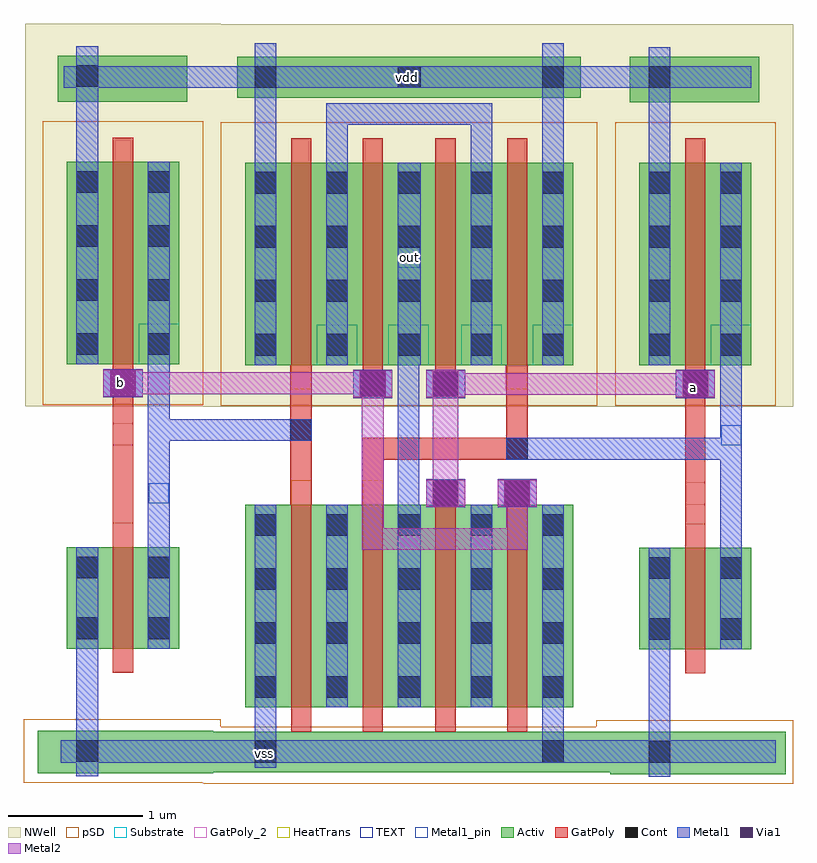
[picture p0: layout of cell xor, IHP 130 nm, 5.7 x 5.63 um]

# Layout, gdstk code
import gdstk
lib = gdstk.Library(unit=1e-6, precision=5e-09)
def R(c, l, rs):  # rectangles x0, y0, x1, y1
    for r in rs: c.add(gdstk.rectangle(r[:2], r[2:], *l))
def A(c, l, x, y, w, h, nx, ny, dx, dy):  # array of equal rectangles
    R(c, l, [(x+i*dx, y+j*dy, x+i*dx+w, y+j*dy+h) for i in range(nx) for j in range(ny)])
Activ = (1, 0)
GatPoly = (5, 0)
GatPoly_2 = (5, 2)
Cont = (6, 0)
Metal1 = (8, 0)
Metal1_pin = (8, 2)
Metal2 = (10, 0)
pSD = (14, 0)
Via1 = (19, 0)
NWell = (31, 0)
Substrate = (40, 0)
HeatTrans = (51, 0)
TEXT = (63, 0)

nmos = lib.new_cell('nmos')
R(nmos, Activ, [(0,0,0.3,0.3), (0,0,0.83,1.5), (0.53,0,0.83,0.3)])
R(nmos, GatPoly, [(0.34,-0.18,0.49,1.68)])
R(nmos, GatPoly_2, [(0.34,-0.18,0.49,1.68)])
A(nmos, Cont, 0.07, 0.07, 0.16, 0.16, 1, 4, 0, 0.4)
A(nmos, Cont, 0.6, 0.07, 0.16, 0.16, 1, 4, 0, 0.4)
R(nmos, Metal1, [(0.07,0,0.23,1.5), (0.6,0,0.76,1.5)])
R(nmos, Metal1_pin, [(0.07,0,0.23,1.5), (0.6,0,0.76,1.5)])
R(nmos, HeatTrans, [(0.34,-0.18,0.49,1.68)])
nmos.add(gdstk.Label('nmos', (0.415,0.75), layer=63, texttype=0))
nmos.add(gdstk.Label('nmos', (0.415,0.75), layer=51, texttype=0))

pmos = lib.new_cell('pmos')
R(pmos, Activ, [(0,0,0.3,0.3), (0,0,0.83,1.5), (0.53,0,0.83,0.3)])
R(pmos, GatPoly, [(0.34,-0.18,0.49,1.68), (0.34,-0.18,0.49,1.68)])
A(pmos, Cont, 0.07, 0.07, 0.16, 0.16, 1, 4, 0, 0.4)
A(pmos, Cont, 0.6, 0.07, 0.16, 0.16, 1, 4, 0, 0.4)
R(pmos, Metal1, [(0.07,0,0.23,1.5), (0.07,0,0.23,1.5), (0.6,0,0.76,1.5), (0.6,0,0.76,1.5)])
R(pmos, pSD, [(-0.18,-0.3,1.01,1.8)])
R(pmos, NWell, [(-0.31,-0.31,1.14,1.81)])
R(pmos, Substrate, [(0.53,0,0.83,0.3)])
R(pmos, HeatTrans, [(0.34,-0.18,0.49,1.68)])
pmos.add(gdstk.Label('pmos', (0.415,0.75), layer=63, texttype=0))
pmos.add(gdstk.Label('pmos', (0.415,0.75), layer=51, texttype=0))

nmos_1 = lib.new_cell('nmos$1')
R(nmos_1, Activ, [(0,0,0.3,0.3), (0,0,0.83,0.75), (0.53,0,0.83,0.3)])
R(nmos_1, GatPoly, [(0.34,-0.18,0.49,0.93)])
R(nmos_1, GatPoly_2, [(0.34,-0.18,0.49,0.93)])
R(nmos_1, Cont, [(0.07,0.07,0.23,0.23), (0.6,0.07,0.76,0.23), (0.07,0.52,0.23,0.68), (0.6,0.52,0.76,0.68)])
R(nmos_1, Metal1, [(0.07,0,0.23,0.75), (0.6,0,0.76,0.75)])
R(nmos_1, Metal1_pin, [(0.07,0,0.23,0.75), (0.6,0,0.76,0.75)])
R(nmos_1, HeatTrans, [(0.34,-0.18,0.49,0.93)])
nmos_1.add(gdstk.Label('nmos', (0.415,0.375), layer=63, texttype=0))
nmos_1.add(gdstk.Label('nmos', (0.415,0.375), layer=51, texttype=0))

pmos_1 = lib.new_cell('pmos$1')
R(pmos_1, Activ, [(0,0,0.3,0.3), (0,0,0.83,1.5), (0.53,0,0.83,0.3)])
R(pmos_1, GatPoly, [(0.34,-0.18,0.49,1.68), (0.34,-0.18,0.49,1.68)])
A(pmos_1, Cont, 0.07, 0.07, 0.16, 0.16, 1, 4, 0, 0.4)
A(pmos_1, Cont, 0.6, 0.07, 0.16, 0.16, 1, 4, 0, 0.4)
R(pmos_1, Metal1, [(0.07,0,0.23,1.5), (0.07,0,0.23,1.5), (0.6,0,0.76,1.5), (0.6,0,0.76,1.5)])
R(pmos_1, pSD, [(-0.18,-0.3,1.01,1.8)])
R(pmos_1, NWell, [(-0.31,-0.31,1.14,1.81)])
R(pmos_1, Substrate, [(0.53,0,0.83,0.3)])
R(pmos_1, HeatTrans, [(0.34,-0.18,0.49,1.68)])
pmos_1.add(gdstk.Label('pmos', (0.415,0.75), layer=63, texttype=0))
pmos_1.add(gdstk.Label('pmos', (0.415,0.75), layer=51, texttype=0))

inverter = lib.new_cell('inverter')
R(inverter, Activ, [(1.335,-1.99,2.635,-1.675), (1.48,2.985,2.44,3.325)])
R(inverter, GatPoly, [(1.89,-0.135,2.04,1.34)])
R(inverter, GatPoly_2, [(1.89,0.005,2.04,0.17)])
R(inverter, Cont, [(1.62,-1.905,1.78,-1.745), (1.62,2.31,1.78,2.47), (1.62,3.095,1.78,3.255)])
R(inverter, Metal1, [(1.62,-2.01,1.78,-1.065), (2.15,-0.315,2.31,1.27), (1.62,2.15,1.78,3.395)])
R(inverter, Metal1_pin, [(1.62,-1.905,1.78,-1.745), (2.155,0.445,2.305,0.595), (1.62,3.095,1.78,3.255)])
R(inverter, pSD, [(1.23,-2.06,2.69,-1.59)])
R(inverter, NWell, [(1.24,2.85,2.69,3.565)])
inverter.add(gdstk.Reference(nmos_1, (1.55,-1.065)))
inverter.add(gdstk.Reference(pmos_1, (1.55,1.04)))
inverter.add(gdstk.Label('out', (2.23,0.52), layer=8, texttype=2))
inverter.add(gdstk.Label('vdd', (1.685,3.17), layer=8, texttype=2))
inverter.add(gdstk.Label('vss', (1.69,-1.84), layer=8, texttype=2))
inverter.add(gdstk.Label('in', (1.94,0.09), layer=5, texttype=2))

nmos_2 = lib.new_cell('nmos$2')
R(nmos_2, Activ, [(0,0,0.3,0.3), (0,0,0.83,0.75), (0.53,0,0.83,0.3)])
R(nmos_2, GatPoly, [(0.34,-0.18,0.49,0.93)])
R(nmos_2, GatPoly_2, [(0.34,-0.18,0.49,0.93)])
R(nmos_2, Cont, [(0.07,0.07,0.23,0.23), (0.6,0.07,0.76,0.23), (0.07,0.52,0.23,0.68), (0.6,0.52,0.76,0.68)])
R(nmos_2, Metal1, [(0.07,0,0.23,0.75), (0.6,0,0.76,0.75)])
R(nmos_2, Metal1_pin, [(0.07,0,0.23,0.75), (0.6,0,0.76,0.75)])
R(nmos_2, HeatTrans, [(0.34,-0.18,0.49,0.93)])
nmos_2.add(gdstk.Label('nmos', (0.415,0.375), layer=63, texttype=0))
nmos_2.add(gdstk.Label('nmos', (0.415,0.375), layer=51, texttype=0))

pmos_1_1 = lib.new_cell('pmos$1$1')
R(pmos_1_1, Activ, [(0,0,0.3,0.3), (0,0,0.83,1.5), (0.53,0,0.83,0.3)])
R(pmos_1_1, GatPoly, [(0.34,-0.18,0.49,1.68), (0.34,-0.18,0.49,1.68)])
A(pmos_1_1, Cont, 0.07, 0.07, 0.16, 0.16, 1, 4, 0, 0.4)
A(pmos_1_1, Cont, 0.6, 0.07, 0.16, 0.16, 1, 4, 0, 0.4)
R(pmos_1_1, Metal1, [(0.07,0,0.23,1.5), (0.07,0,0.23,1.5), (0.6,0,0.76,1.5), (0.6,0,0.76,1.5)])
R(pmos_1_1, pSD, [(-0.18,-0.3,1.01,1.8)])
R(pmos_1_1, NWell, [(-0.31,-0.31,1.14,1.81)])
R(pmos_1_1, Substrate, [(0.53,0,0.83,0.3)])
R(pmos_1_1, HeatTrans, [(0.34,-0.18,0.49,1.68)])
pmos_1_1.add(gdstk.Label('pmos', (0.415,0.75), layer=63, texttype=0))
pmos_1_1.add(gdstk.Label('pmos', (0.415,0.75), layer=51, texttype=0))

inverter_1 = lib.new_cell('inverter$1')
R(inverter_1, Activ, [(1.335,-1.99,2.635,-1.675), (1.48,2.985,2.44,3.325)])
R(inverter_1, GatPoly, [(1.89,-0.135,2.04,1.34)])
R(inverter_1, GatPoly_2, [(1.89,0.44,2.04,0.605)])
R(inverter_1, Cont, [(1.62,-1.905,1.78,-1.745), (1.62,2.31,1.78,2.47), (1.62,3.095,1.78,3.255)])
R(inverter_1, Metal1, [(1.62,-2.01,1.78,-1.065), (2.15,-0.315,2.31,1.27), (1.62,2.15,1.78,3.395)])
R(inverter_1, Metal1_pin, [(1.62,-1.905,1.78,-1.745), (2.155,0.01,2.305,0.16), (1.62,3.095,1.78,3.255)])
R(inverter_1, pSD, [(1.23,-2.06,2.69,-1.59)])
R(inverter_1, NWell, [(1.24,2.85,2.69,3.565)])
inverter_1.add(gdstk.Reference(nmos_2, (1.55,-1.065)))
inverter_1.add(gdstk.Reference(pmos_1_1, (1.55,1.04)))
inverter_1.add(gdstk.Label('vdd', (1.685,3.17), layer=8, texttype=2))
inverter_1.add(gdstk.Label('out', (2.23,0.085), layer=8, texttype=2))
inverter_1.add(gdstk.Label('vss', (1.69,-1.84), layer=8, texttype=2))
inverter_1.add(gdstk.Label('in', (1.94,0.525), layer=5, texttype=2))

via_stack_1 = lib.new_cell('via_stack$1')
R(via_stack_1, Metal1, [(-0.145,-0.105,0.145,0.105)])
R(via_stack_1, Metal2, [(-0.145,-0.1,0.145,0.1)])
R(via_stack_1, Via1, [(-0.095,-0.095,0.095,0.095)])

xor = lib.new_cell('xor')
R(xor, Activ, [(-2.935,-1.82,0.08,-1.52), (-2.685,3.175,-1.21,3.48), (-1.615,3.175,-0.14,3.48)])
R(xor, GatPoly, [(-1.235,0.15,-1.045,0.34), (-1.235,0.15,-1.045,0.34), (-0.705,0.15,-0.515,0.34), (-1.775,0.96,-1.585,1.15), (-1.235,0.96,-1.045,1.15), (0.615,0.96,0.805,1.15), (-3.625,0.965,-3.435,1.155), (-3.625,0.965,-3.435,1.155)])
R(xor, GatPoly_2, [(0.615,0.96,0.805,1.15), (-3.625,0.965,-3.435,1.155), (-0.7,1.015,-0.535,1.19)])
R(xor, Cont, [(-2.555,-1.75,-2.395,-1.585), (-2.555,-1.75,-2.395,-1.585), (-0.425,-1.75,-0.265,-1.585), (-1.235,0.14,-1.045,0.34), (-0.705,0.15,-0.515,0.34), (-0.69,0.495,-0.53,0.655), (-2.29,0.635,-2.13,0.795), (-1.775,0.96,-1.585,1.15), (-1.235,0.96,-1.045,1.15), (0.615,0.96,0.805,1.15), (-2.555,3.25,-2.395,3.41), (-2.555,3.25,-2.395,3.41), (-1.495,3.25,-1.335,3.41), (-1.485,3.25,-1.325,3.41), (-0.425,3.25,-0.265,3.41)])
R(xor, Metal1, [(-2.555,-1.79,-2.395,-1.67), (-3.99,-1.75,1.305,-1.585), (-2.645,-1.75,-2.475,-1.585), (-1.235,0.15,-1.045,0.34), (-0.705,0.15,-0.515,0.34), (-1.775,0.96,-1.585,1.15), (-1.235,0.96,-1.045,1.15), (0.615,0.96,0.805,1.15), (-3.625,0.965,-3.435,1.155), (-2.555,2.465,-2.395,3.58), (-0.425,2.465,-0.265,3.58), (-3.97,3.25,-1.255,3.41), (-1.255,3.25,1.125,3.41)])
R(xor, Metal1_pin, [(-1.49,1.915,-1.33,2.075), (-1.495,3.25,-1.335,3.41), (-1.485,3.25,-1.325,3.41)])
R(xor, Metal2, [(-1.235,0.14,-1.045,1.16), (-0.705,0.15,-0.515,0.34)])
R(xor, pSD, [(-2.935,-1.905,-0.025,-1.485)])
R(xor, NWell, [(-2.935,3.005,-0.955,3.72), (-1.865,3.005,0.115,3.72)])
xor.add(gdstk.FlexPath([(-2.21,1.195),(-2.21,0.16),(-2.21,0.16)], 0.16, ends="flush", simple_path=True, layer=5, datatype=0))  # GatPoly
xor.add(gdstk.FlexPath([(-1.68,0.16),(-1.68,0.575),(-0.61,0.575),(-0.61,1.19),(-0.61,1.19)], 0.16, ends="flush", simple_path=True, layer=5, datatype=0))  # GatPoly
xor.add(gdstk.FlexPath([(-0.345,-1.11),(-0.345,-1.75),(-0.345,-1.75)], 0.16, ends="flush", simple_path=True, layer=8, datatype=0))  # Metal1
xor.add(gdstk.FlexPath([(-1.415,1.345),(-1.415,0.01),(-1.415,-0.07),(-1.415,-0.07)], 0.16, ends="flush", simple_path=True, layer=8, datatype=0))  # Metal1
xor.add(gdstk.FlexPath([(-2.475,-1.19),(-2.475,-1.75),(-2.475,-1.75)], 0.16, ends="flush", simple_path=True, layer=8, datatype=0))  # Metal1
xor.add(gdstk.FlexPath([(-0.69,0.575),(1.055,0.575),(1.055,0.575)], 0.16, ends="flush", simple_path=True, layer=8, datatype=0))  # Metal1
xor.add(gdstk.FlexPath([(-3.345,0.715),(-2.13,0.715),(-2.13,0.715)], 0.16, ends="flush", simple_path=True, layer=8, datatype=0))  # Metal1
xor.add(gdstk.FlexPath([(-1.945,2.545),(-1.945,3.055),(-0.875,3.055),(-0.875,2.545)], 0.16, ends="flush", simple_path=True, layer=8, datatype=0))  # Metal1
xor.add(gdstk.FlexPath([(-2.475,-1.67),(-2.555,-1.67),(-2.555,-1.67)], 0.16, ends="flush", simple_path=True, layer=63, datatype=0))  # TEXT
xor.add(gdstk.FlexPath([(-1.68,1.055),(-1.68,-0.095),(-0.61,-0.095),(-0.61,0.265),(-0.62,0.265),(-0.62,0.245),(-0.61,0.245)], 0.16, ends="flush", simple_path=True, layer=10, datatype=0))  # Metal2
xor.add(gdstk.FlexPath([(-3.625,1.06),(-2.115,1.06),(-1.585,1.06)], 0.16, ends="flush", simple_path=True, layer=10, datatype=0))  # Metal2
xor.add(gdstk.FlexPath([(-1.235,1.055),(0.805,1.055),(0.805,1.055)], 0.16, ends="flush", simple_path=True, layer=10, datatype=0))  # Metal2
xor.add(gdstk.Reference(nmos, (-2.625,-1.34)))
xor.add(gdstk.Reference(nmos, (-2.095,-1.34)))
xor.add(gdstk.Reference(pmos, (-2.095,1.195)))
xor.add(gdstk.Reference(pmos, (-2.625,1.195)))
xor.add(gdstk.Reference(pmos, (-1.025,1.195)))
xor.add(gdstk.Reference(nmos, (-1.555,-1.34)))
xor.add(gdstk.Reference(nmos, (-1.025,-1.34)))
xor.add(gdstk.Reference(inverter, (-1.255,0.155)))
xor.add(gdstk.Reference(inverter_1, (-5.495,0.16)))
xor.add(gdstk.Reference(via_stack_1, (-1.14,1.055)))
xor.add(gdstk.Reference(via_stack_1, (-1.14,0.245)))
xor.add(gdstk.Reference(via_stack_1, (-1.14,0.245)))
xor.add(gdstk.Reference(via_stack_1, (-0.61,0.245)))
xor.add(gdstk.Reference(via_stack_1, (-1.68,1.055)))
xor.add(gdstk.Reference(via_stack_1, (-3.53,1.06)))
xor.add(gdstk.Reference(via_stack_1, (-3.53,1.06)))
xor.add(gdstk.Reference(via_stack_1, (0.71,1.055)))
xor.add(gdstk.Reference(pmos, (-1.555,1.195)))
xor.add(gdstk.Label('vss', (-2.485,-1.685), layer=8, texttype=2))
xor.add(gdstk.Label('out', (-1.41,1.995), layer=8, texttype=2))
xor.add(gdstk.Label('vdd', (-1.42,3.325), layer=8, texttype=2))
xor.add(gdstk.Label('a', (0.695,1.025), layer=5, texttype=2))
xor.add(gdstk.Label('b', (-3.545,1.065), layer=5, texttype=2))

lib.write_gds('xor.gds')
